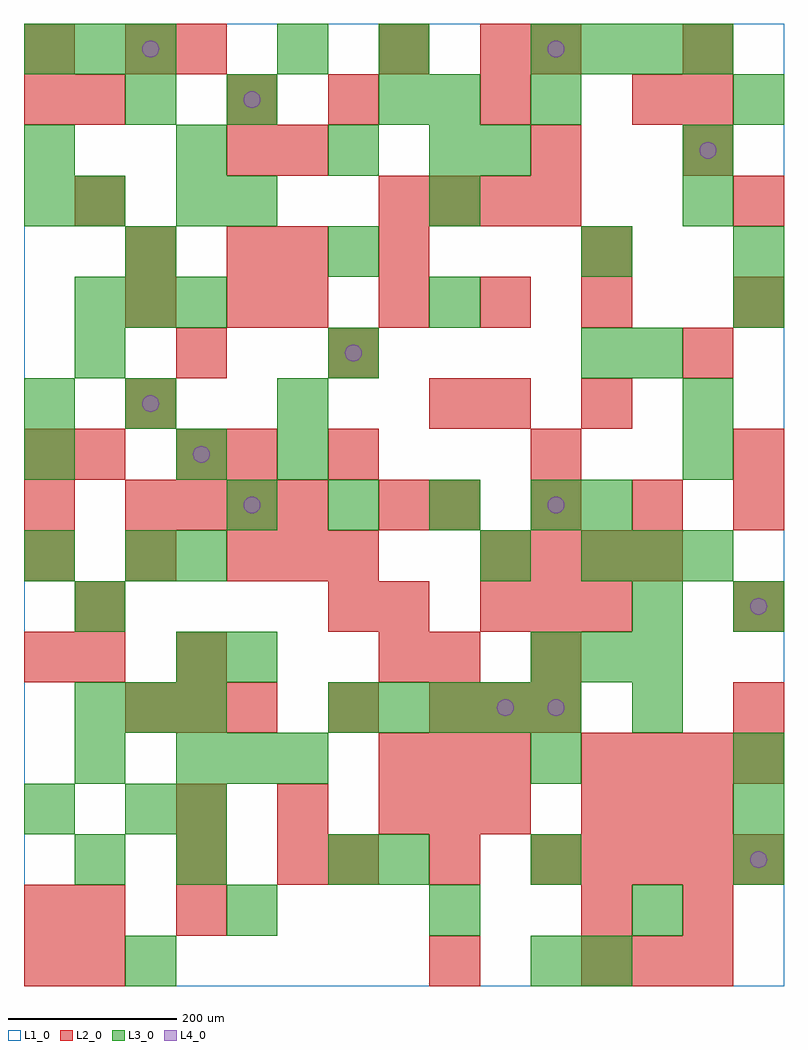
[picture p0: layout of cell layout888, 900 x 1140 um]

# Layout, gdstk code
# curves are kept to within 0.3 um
import gdstk
lib = gdstk.Library(unit=1e-6, precision=1e-09)
def R(c, l, rs):  # rectangles x0, y0, x1, y1
    for r in rs: c.add(gdstk.rectangle(r[:2], r[2:], *l))
def A(c, l, x, y, w, h, nx, ny, dx, dy):  # array of equal rectangles
    R(c, l, [(x+i*dx, y+j*dy, x+i*dx+w, y+j*dy+h) for i in range(nx) for j in range(ny)])
def P(c, l, *ps):  # polygons
    for p in ps: c.add(gdstk.Polygon(p, *l))
L1_0 = (1, 0)
L2_0 = (2, 0)
L3_0 = (3, 0)
L4_0 = (4, 0)

layout888 = lib.new_cell('layout888')
R(layout888, L1_0, [(0,0,900,1140)])
A(layout888, L2_0, 480, 0, 60, 60, 1, 3, 0, 180)
A(layout888, L2_0, 660, 0, 60, 60, 3, 2, 60, 180)
A(layout888, L2_0, 180, 120, 60, 60, 1, 3, 0, 240)
A(layout888, L2_0, 300, 120, 60, 60, 1, 3, 0, 360)
A(layout888, L2_0, 360, 120, 60, 60, 3, 1, 120, 0)
A(layout888, L2_0, 660, 120, 60, 60, 4, 2, 60, 120)
A(layout888, L2_0, 180, 180, 60, 60, 3, 1, 120, 0)
A(layout888, L2_0, 420, 240, 60, 60, 3, 1, 60, 0)
A(layout888, L2_0, 120, 300, 60, 60, 3, 1, 60, 0)
A(layout888, L2_0, 480, 300, 60, 60, 3, 1, 60, 0)
A(layout888, L2_0, 540, 420, 60, 60, 3, 1, 60, 0)
A(layout888, L2_0, 0, 480, 60, 60, 3, 1, 120, 0)
A(layout888, L2_0, 540, 480, 60, 60, 4, 1, 60, 0)
A(layout888, L2_0, 120, 540, 60, 60, 4, 1, 60, 0)
A(layout888, L2_0, 480, 540, 60, 60, 4, 1, 120, 0)
A(layout888, L2_0, 360, 600, 60, 60, 3, 1, 240, 0)
A(layout888, L2_0, 300, 780, 60, 60, 4, 1, 120, 0)
A(layout888, L2_0, 420, 900, 60, 60, 4, 1, 60, 0)
A(layout888, L2_0, 780, 960, 60, 60, 1, 3, 0, 60)
A(layout888, L2_0, 360, 1020, 60, 60, 3, 1, 180, 0)
R(layout888, L2_0, [(0,0,60,60), (60,0,120,60), (0,60,60,120), (60,60,120,120), (180,60,240,120), (660,60,720,120), (780,60,840,120), (540,180,600,240), (360,300,420,360), (840,300,900,360), (0,360,60,420), (60,360,120,420), (420,360,480,420), (600,360,660,420), (60,420,120,480), (360,420,420,480), (420,420,480,480), (840,420,900,480), (360,480,420,540), (0,540,60,600), (420,540,480,600), (0,600,60,660), (60,600,120,660), (240,600,300,660), (120,660,180,720), (480,660,540,720), (540,660,600,720), (660,660,720,720), (180,720,240,780), (360,720,420,780), (780,720,840,780), (120,780,180,840), (240,780,300,840), (840,780,900,840), (120,840,180,900), (240,840,300,900), (420,840,480,900), (660,840,720,900), (60,900,120,960), (840,900,900,960), (240,960,300,1020), (300,960,360,1020), (600,960,660,1020), (0,1020,60,1080), (60,1020,120,1080), (240,1020,300,1080), (0,1080,60,1140), (120,1080,180,1140), (180,1080,240,1140), (420,1080,480,1140), (540,1080,600,1140), (600,1080,660,1140)])
A(layout888, L3_0, 600, 0, 60, 60, 1, 3, 0, 120)
A(layout888, L3_0, 240, 60, 60, 60, 3, 1, 240, 0)
A(layout888, L3_0, 840, 120, 60, 60, 1, 3, 0, 60)
A(layout888, L3_0, 180, 240, 60, 60, 3, 1, 60, 0)
A(layout888, L3_0, 60, 300, 60, 60, 3, 2, 60, 480)
A(layout888, L3_0, 360, 300, 60, 60, 5, 1, 60, 0)
A(layout888, L3_0, 180, 360, 60, 60, 1, 3, 0, 120)
A(layout888, L3_0, 600, 360, 60, 60, 3, 1, 60, 0)
A(layout888, L3_0, 120, 480, 60, 60, 1, 4, 0, 180)
A(layout888, L3_0, 660, 480, 60, 60, 3, 1, 60, 0)
A(layout888, L3_0, 240, 540, 60, 60, 4, 1, 120, 0)
A(layout888, L3_0, 60, 720, 60, 60, 3, 1, 300, 0)
A(layout888, L3_0, 480, 900, 60, 60, 1, 3, 0, 60)
A(layout888, L3_0, 0, 960, 60, 60, 3, 1, 180, 0)
A(layout888, L3_0, 0, 1080, 60, 60, 3, 1, 60, 0)
A(layout888, L3_0, 600, 1080, 60, 60, 4, 1, 60, 0)
R(layout888, L3_0, [(120,0,180,60), (660,0,720,60), (60,120,120,180), (180,120,240,180), (360,120,420,180), (420,120,480,180), (0,180,60,240), (120,180,180,240), (180,180,240,240), (60,240,120,300), (720,300,780,360), (240,360,300,420), (60,420,120,480), (720,420,780,480), (840,420,900,480), (0,480,60,540), (540,480,600,540), (660,540,720,600), (0,600,60,660), (300,600,360,660), (780,600,840,660), (0,660,60,720), (300,660,360,720), (780,660,840,720), (720,720,780,780), (480,780,540,840), (840,780,900,840), (360,840,420,900), (660,840,720,900), (840,840,900,900), (0,900,60,960), (60,900,120,960), (180,900,240,960), (240,900,300,960), (780,900,840,960), (540,960,600,1020), (780,960,840,1020), (240,1020,300,1080), (420,1020,480,1080), (600,1020,660,1080), (840,1020,900,1080), (300,1080,360,1140), (420,1080,480,1140)])
P(layout888, L4_0, [(160,690),(159.239,693.827),(157.071,697.071),(153.827,699.239),(150,700),(146.173,699.239),(142.929,697.071),(140.761,693.827),(140,690),(140.761,686.173),(142.929,682.929),(146.173,680.761),(150,680),(153.827,680.761),(157.071,682.929),(159.239,686.173)],
  [(160,1110),(159.239,1113.827),(157.071,1117.071),(153.827,1119.239),(150,1120),(146.173,1119.239),(142.929,1117.071),(140.761,1113.827),(140,1110),(140.761,1106.173),(142.929,1102.929),(146.173,1100.761),(150,1100),(153.827,1100.761),(157.071,1102.929),(159.239,1106.173)],
  [(220,630),(219.239,633.827),(217.071,637.071),(213.827,639.239),(210,640),(206.173,639.239),(202.929,637.071),(200.761,633.827),(200,630),(200.761,626.173),(202.929,622.929),(206.173,620.761),(210,620),(213.827,620.761),(217.071,622.929),(219.239,626.173)],
  [(280,570),(279.239,573.827),(277.071,577.071),(273.827,579.239),(270,580),(266.173,579.239),(262.929,577.071),(260.761,573.827),(260,570),(260.761,566.173),(262.929,562.929),(266.173,560.761),(270,560),(273.827,560.761),(277.071,562.929),(279.239,566.173)],
  [(280,1050),(279.239,1053.827),(277.071,1057.071),(273.827,1059.239),(270,1060),(266.173,1059.239),(262.929,1057.071),(260.761,1053.827),(260,1050),(260.761,1046.173),(262.929,1042.929),(266.173,1040.761),(270,1040),(273.827,1040.761),(277.071,1042.929),(279.239,1046.173)],
  [(400,750),(399.239,753.827),(397.071,757.071),(393.827,759.239),(390,760),(386.173,759.239),(382.929,757.071),(380.761,753.827),(380,750),(380.761,746.173),(382.929,742.929),(386.173,740.761),(390,740),(393.827,740.761),(397.071,742.929),(399.239,746.173)],
  [(580,330),(579.239,333.827),(577.071,337.071),(573.827,339.239),(570,340),(566.173,339.239),(562.929,337.071),(560.761,333.827),(560,330),(560.761,326.173),(562.929,322.929),(566.173,320.761),(570,320),(573.827,320.761),(577.071,322.929),(579.239,326.173)],
  [(640,330),(639.239,333.827),(637.071,337.071),(633.827,339.239),(630,340),(626.173,339.239),(622.929,337.071),(620.761,333.827),(620,330),(620.761,326.173),(622.929,322.929),(626.173,320.761),(630,320),(633.827,320.761),(637.071,322.929),(639.239,326.173)],
  [(640,570),(639.239,573.827),(637.071,577.071),(633.827,579.239),(630,580),(626.173,579.239),(622.929,577.071),(620.761,573.827),(620,570),(620.761,566.173),(622.929,562.929),(626.173,560.761),(630,560),(633.827,560.761),(637.071,562.929),(639.239,566.173)],
  [(640,1110),(639.239,1113.827),(637.071,1117.071),(633.827,1119.239),(630,1120),(626.173,1119.239),(622.929,1117.071),(620.761,1113.827),(620,1110),(620.761,1106.173),(622.929,1102.929),(626.173,1100.761),(630,1100),(633.827,1100.761),(637.071,1102.929),(639.239,1106.173)],
  [(820,990),(819.239,993.827),(817.071,997.071),(813.827,999.239),(810,1000),(806.173,999.239),(802.929,997.071),(800.761,993.827),(800,990),(800.761,986.173),(802.929,982.929),(806.173,980.761),(810,980),(813.827,980.761),(817.071,982.929),(819.239,986.173)],
  [(880,150),(879.239,153.827),(877.071,157.071),(873.827,159.239),(870,160),(866.173,159.239),(862.929,157.071),(860.761,153.827),(860,150),(860.761,146.173),(862.929,142.929),(866.173,140.761),(870,140),(873.827,140.761),(877.071,142.929),(879.239,146.173)],
  [(880,450),(879.239,453.827),(877.071,457.071),(873.827,459.239),(870,460),(866.173,459.239),(862.929,457.071),(860.761,453.827),(860,450),(860.761,446.173),(862.929,442.929),(866.173,440.761),(870,440),(873.827,440.761),(877.071,442.929),(879.239,446.173)])

lib.write_gds('layout888.gds')
